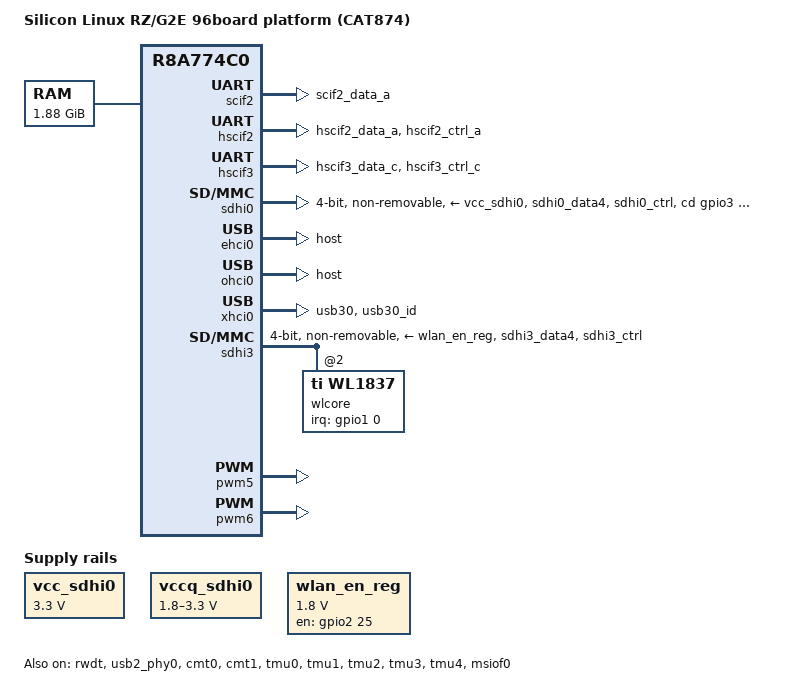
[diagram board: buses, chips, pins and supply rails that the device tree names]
// SPDX-License-Identifier: GPL-2.0
/*
 * Device Tree Source for the Silicon Linux RZ/G2E 96board platform (CAT874)
 *
 * Copyright (C) 2019 Renesas Electronics Corp.
 */

/dts-v1/;
#include "r8a774c0.dtsi"
#include <dt-bindings/gpio/gpio.h>

/ {
	model = "Silicon Linux RZ/G2E 96board platform (CAT874)";
	compatible = "si-linux,cat874", "renesas,r8a774c0";

	aliases {
		serial0 = &scif2;
		serial1 = &hscif2;
		serial2 = &hscif3;
	};

	chosen {
		bootargs = "ignore_loglevel rw root=/dev/nfs ip=dhcp";
		stdout-path = "serial0:115200n8";
	};

	memory@48000000 {
		device_type = "memory";
		/* first 128MB is reserved for secure area. */
		reg = <0x0 0x48000000 0x0 0x78000000>;
	};

	reserved-memory {
		#address-cells = <2>;
		#size-cells = <2>;
		ranges;

		/* global autoconfigured region for contiguous allocations */
		linux,cma@58000000 {
			compatible = "shared-dma-pool";
			reusable;
			reg = <0x00000000 0x58000000 0x0 0x10000000>;
			linux,cma-default;
		};
	};


	vcc_sdhi0: regulator-vcc-sdhi0 {
		compatible = "regulator-fixed";

		regulator-name = "SDHI0 Vcc";
		regulator-min-microvolt = <3300000>;
		regulator-max-microvolt = <3300000>;

		regulator-always-on;
		regulator-boot-on;
	};

	vccq_sdhi0: regulator-vccq-sdhi0 {
		compatible = "regulator-gpio";

		regulator-name = "SDHI0 VccQ";
		regulator-min-microvolt = <1800000>;
		regulator-max-microvolt = <3300000>;

		gpios = <&gpio3 13 GPIO_ACTIVE_HIGH>;
		gpios-states = <1>;
		states = <3300000 1
			1800000 0>;
	};

	wlan_en_reg: fixedregulator {
		compatible = "regulator-fixed";
		regulator-name = "wlan-en-regulator";
		regulator-min-microvolt = <1800000>;
		regulator-max-microvolt = <1800000>;
		startup-delay-us = <70000>;

		/* WLAN_EN GPIO for this board - Bank2, pin25 */
		gpio = <&gpio2 25 GPIO_ACTIVE_HIGH>;
		enable-active-high;
	};
};

&extal_clk {
	clock-frequency = <48000000>;
};

&pfc {
	scif2_pins: scif2 {
		groups = "scif2_data_a";
		function = "scif2";
	};

	hscif2_pins: hscif2 {
		groups = "hscif2_data_a", "hscif2_ctrl_a";
		function = "hscif2";
	};

	hscif3_pins: hscif3 {
		groups = "hscif3_data_c", "hscif3_ctrl_c";
		function = "hscif3";
	};

	sdhi0_pins: sd0 {
		groups = "sdhi0_data4", "sdhi0_ctrl";
		function = "sdhi0";
		power-source = <3300>;
	};

	sdhi0_pins_uhs: sd0_uhs {
		groups = "sdhi0_data4", "sdhi0_ctrl";
		function = "sdhi0";
		power-source= <1800>;
	};

	usb0_pins: usb {
		groups = "usb0_b";
		function = "usb0";
	};

	usb30_pins: usb30 {
		groups = "usb30", "usb30_id";
		function = "usb30";
	};

	sdhi3_pins_uhs: sd3_uhs {
		groups = "sdhi3_data4", "sdhi3_ctrl";
		function = "sdhi3";
		power-source = <1800>;
	};

	pwm5_pins: pwm5 {
		groups = "pwm5_a";
		function = "pwm5";
	};

	pwm6_pins: pwm6 {
		groups = "pwm6_a";
		function = "pwm6";
	};

	msiof0_pins: spi0 {
		groups = "msiof0_clk", "msiof0_sync",
			 "msiof0_rxd", "msiof0_txd";
		function = "msiof0";
	};
};

&scif2 {
	pinctrl-0 = <&scif2_pins>;
	pinctrl-names = "default";

	status = "okay";
};

&hscif2 {
	pinctrl-0 = <&hscif2_pins>;
	pinctrl-names = "default";

	uart-has-rtscts;
	status = "okay";
};

&hscif3 {
	pinctrl-0 = <&hscif3_pins>;
	pinctrl-names = "default";

	uart-has-rtscts;
	status = "okay";
};

&rwdt {
	timeout-sec = <60>;
	status = "okay";
};

&sdhi0 {
	pinctrl-0 = <&sdhi0_pins>;
	pinctrl-1 = <&sdhi0_pins_uhs>;
	pinctrl-names = "default", "state_uhs";

	vmmc-supply = <&vcc_sdhi0>;
	vqmmc-supply = <&vccq_sdhi0>;
	cd-gpios = <&gpio3 12 GPIO_ACTIVE_LOW>;
	bus-width = <4>;
	sd-uhs-sdr50;
	sd-uhs-sdr104;
	non-removable;
	status = "okay";
};

&ehci0 {
	dr_mode = "host";
	status = "okay";
};

&ohci0 {
	dr_mode = "host";
	status = "okay";
};

&usb2_phy0 {
	pinctrl-0 = <&usb0_pins>;
	pinctrl-names = "default";

	status = "okay";
};

&xhci0 {
	pinctrl-0 = <&usb30_pins>;
	pinctrl-names = "default";

	status = "okay";
};

&cmt0 {
	status = "okay";
};

&cmt1 {
	status = "okay";
};

&tmu0 {
	status = "okay";
};

&tmu1 {
	status = "okay";
};

&tmu2 {
	status = "okay";
};

&tmu3 {
	status = "okay";
};

&tmu4 {
	status = "okay";
};

&pcie_bus_clk {
	clock-frequency = <100000000>;
};

&pciec0 {
	/* Map all possible DDR as inbound ranges */
	dma-ranges = <0x42000000 0 0x40000000 0 0x40000000 0 0x80000000>;
};

&sdhi3 {
	/* used for on-board WIFI */
	status = "okay";
	pinctrl-0 = <&sdhi3_pins_uhs>;
	pinctrl-names = "default";

	vmmc-supply = <&wlan_en_reg>;
	bus-width = <4>;
	non-removable;
	cap-power-off-card;
	keep-power-in-suspend;

	#address-cells = <1>;
	#size-cells = <0>;
	wlcore: wlcore@2 {
		compatible = "ti,wl1837";
		reg = <2>;
		interrupt-parent = <&gpio1>;
		interrupts = <0 IRQ_TYPE_LEVEL_HIGH>;
	};
};

&pwm5 {
	princtrl-0 = <&pwm5_pins>;
	pinctrl-name = "default";

	status = "okay";
};

&pwm6 {
	princtrl-0 = <&pwm6_pins>;
	pinctrl-name = "default";

	status = "okay";
};

&msiof0 {
	pinctrl-0 = <&msiof0_pins>;
	pinctrl-names = "default";

	status = "okay";
};
